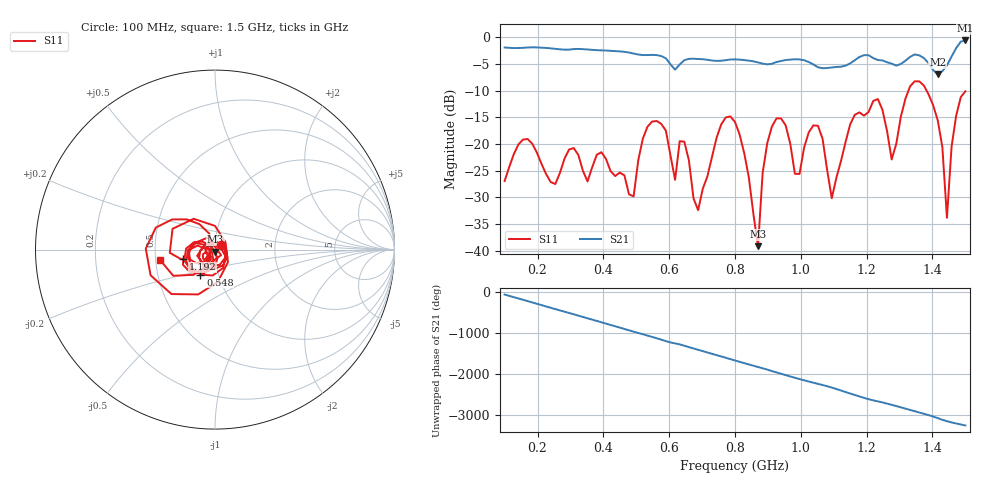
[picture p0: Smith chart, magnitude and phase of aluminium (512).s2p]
! NanoVNA-App
! Date: 2025-09-25 14:59:16
! Start: 100MHz Stop: 1,5GHz Points: 101
! S-Parameter data: F S11 S21 S12 S22
# Hz S RI R 50
!  Frequency  S11_Real  S11_Imag  S21_Real  S21_Imag  S12_Real  S12_Imag  S22_Real  S22_Imag
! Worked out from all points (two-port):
!   101 points, 100 MHz to 1.5 GHz, reference 50 ohm
!   highest |S21| = -0.61 dB at 1.5 GHz (marker M1); lowest = -7.0 dB at 1.416 GHz (marker M2)
!   |S21| within 3 dB of the highest: start of sweep to 578.4 MHz; 1.458 GHz to end of sweep (the widest 2 of 4)
!   lowest |S11| = -39.2 dB at 870 MHz (marker M3), VSWR 1.02, Z = 50.2 - j1.09 ohm
!   |S11| at or under -10 dB: start of sweep to 1.327 GHz; 1.382 GHz to end of sweep
!   S12 and S22 are empty: the file has one direction only
!   S11 on the Smith chart (normalised r, x): 100 MHz: 1.07, +0.06; 548 MHz: 0.82, -0.24; 1.192 GHz: 0.70, -0.08; 1.5 GHz: 0.53, -0.07
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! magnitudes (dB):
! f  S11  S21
! 100 MHz  -27.0  -1.9
! 156 MHz  -19.2  -2.0
! 338 MHz  -25.1  -2.2
! 492 MHz  -29.8  -3.1
! 548 MHz  -15.8  -3.3
! 576 MHz  -16.2  -3.5
! 646 MHz  -19.6  -4.3
! 688 MHz  -32.4  -4.1
! 800 MHz  -15.9  -4.2
! 870 MHz  -39.2  -4.7
! 912 MHz  -16.8  -5.0
! 996 MHz  -25.6  -4.2
! 1.038 GHz  -16.5  -5.1
! 1.094 GHz  -30.2  -5.7
! 1.192 GHz  -14.7  -3.4
! 1.234 GHz  -11.6  -4.3
! 1.276 GHz  -22.9  -5.0
! 1.346 GHz  -8.3  -3.2
! 1.416 GHz  -15.6  -7.0
! 1.444 GHz  -33.8  -5.3
! 1.458 GHz  -20.5  -3.6
! 1.5 GHz  -10.1  -0.6
